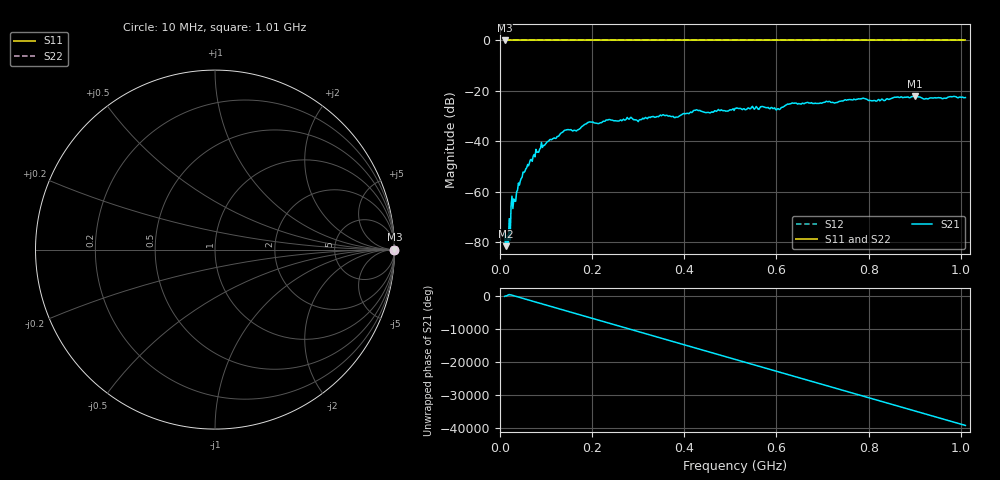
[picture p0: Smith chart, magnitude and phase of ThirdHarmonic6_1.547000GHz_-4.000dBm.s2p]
! 8/16/2025 6:21:10 PM
! C:\ANRITSUVNA\TEMP\TEMP.S2P
! CHANNEL.1
! TR.MEASUREMENT
! RAW.DATA
! RF.CORRECTION.OFF
! AVERAGING.OFF
! IF.BANDWIDTH: 5KHZ
! SWEEPTYPE:  FREQ.SWEEP(Linear)
! Reference Plane Port Info
! PORT:  PORT1  PORT2
! DISTANCE:  0  m  0  m
! TIME:  0  s  0  s
! PHASE.OFFSET:  0  deg.  0  deg.
! LOSS:  0  dB  0  dB
! REF.LOSS:  0  dB  0  dB
! REF.FREQ:  0  Hz  0  Hz
! Power Info
! POWER:  -20  dBm  -20  dBm
! EFF.POWER:  -20  dBm  -20  dBm
! SOURCE.ATTEN:  0  dB  0  dB
! TEST.ATTEN:  0  dB  0  dB
# GHZ S RI R 50.0
! FREQ.GHZ  S11RE  S11IM  S21RE  S21IM  S12RE  S12IM  S22RE  S22IM
!; PortSelection: Port_12
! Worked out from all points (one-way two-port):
!   501 points, 10 MHz to 1.01 GHz, reference 50 ohm
!   highest |S21| = -22.15 dB at 900 MHz (marker M1); lowest = -81.5 dB at 12 MHz (marker M2)
!   lowest |S11| = 0.0 dB at 10 MHz (marker M3)
!   |S11| at or under -10 dB: nowhere
!   |S22| runs from 0.0 to 0.0 dB; largest |S21 - S12| = 1.1
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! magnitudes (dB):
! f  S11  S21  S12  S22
! 10 MHz  0.0  -76.0  0.0  0.0
! 12 MHz  0.0  -81.5  0.0  0.0
! 18 MHz  0.0  -81.0  0.0  0.0
! 28 MHz  0.0  -66.6  0.0  0.0
! 32 MHz  0.0  -63.6  0.0  0.0
! 42 MHz  0.0  -57.3  0.0  0.0
! 54 MHz  0.0  -51.9  0.0  0.0
! 76 MHz  0.0  -46.1  0.0  0.0
! 140 MHz  0.0  -35.6  0.0  0.0
! 178 MHz  0.0  -34.0  0.0  0.0
! 194 MHz  0.0  -32.3  0.0  0.0
! 344 MHz  0.0  -30.2  0.0  0.0
! 382 MHz  0.0  -30.4  0.0  0.0
! 424 MHz  0.0  -27.7  0.0  0.0
! 452 MHz  0.0  -28.5  0.0  0.0
! 510 MHz  0.0  -26.9  0.0  0.0
! 602 MHz  0.0  -27.1  0.0  0.0
! 634 MHz  0.0  -24.8  0.0  0.0
! 678 MHz  0.0  -25.0  0.0  0.0
! 844 MHz  0.0  -23.4  0.0  0.0
! 900 MHz  0.0  -22.2  0.0  0.0
! 1.01 GHz  0.0  -22.6  0.0  0.0
